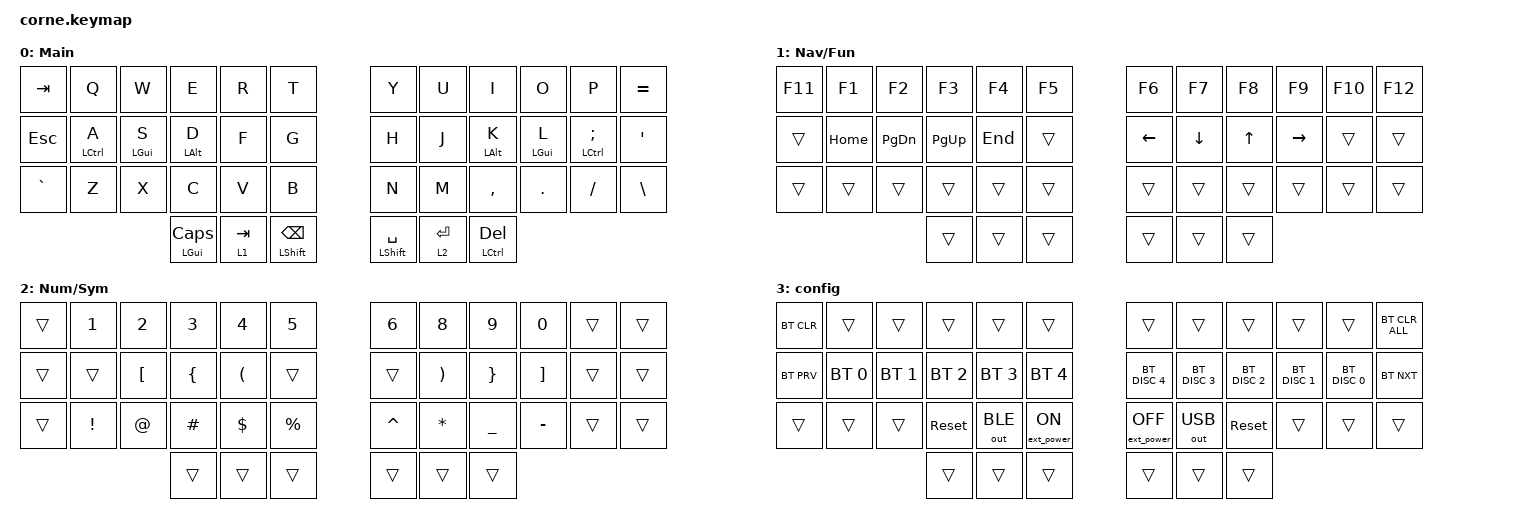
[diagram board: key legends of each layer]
/*
 * Copyright (c) 2020 The ZMK Contributors
 *
 * SPDX-License-Identifier: MIT
 */

#include <behaviors.dtsi>
#include <dt-bindings/zmk/bt.h>
#include <dt-bindings/zmk/ext_power.h>
#include <dt-bindings/zmk/keys.h>
#include <dt-bindings/zmk/outputs.h>

&mt {
    tapping-term-ms = <250>;
    quick-tap-ms = <150>;
    flavor = "tap-preferred";
};

/ {
    keymap {
        compatible = "zmk,keymap";

        main_layer {
            bindings = <
&kp TAB    &kp Q        &kp W           &kp E              &kp R      &kp T                   &kp Y                 &kp U        &kp I           &kp O           &kp P           &kp EQUAL
&kp ESC    &mt LCTRL A  &mt LEFT_GUI S  &mt LEFT_ALT D     &kp F      &kp G                   &kp H                 &kp J        &mt LEFT_ALT K  &mt LEFT_GUI L  &mt LCTRL SEMI  &kp SQT
&kp GRAVE  &kp Z        &kp X           &kp C              &kp V      &kp B                   &kp N                 &kp M        &kp COMMA       &kp DOT         &kp FSLH        &kp BACKSLASH
                                        &mt LEFT_GUI CAPS  &lt 1 TAB  &mt LSHIFT BACKSPACE    &mt LEFT_SHIFT SPACE  &lt 2 ENTER  &mt LCTRL DEL
            >;

            label = "Main";
        };

        left_layer {
            bindings = <
&kp F11  &kp F1    &kp F2         &kp F3       &kp F4   &kp F5    &kp F6    &kp F7    &kp F8  &kp F9     &kp F10  &kp F12
&trans   &kp HOME  &kp PAGE_DOWN  &kp PAGE_UP  &kp END  &trans    &kp LEFT  &kp DOWN  &kp UP  &kp RIGHT  &trans   &trans
&trans   &trans    &trans         &trans       &trans   &trans    &trans    &trans    &trans  &trans     &trans   &trans
                                  &trans       &trans   &trans    &trans    &trans    &trans
            >;

            label = "Nav/Fun";
        };

        right_layer {
            bindings = <
&trans  &kp N1           &kp N2            &kp N3          &kp N4                &kp N5         &kp N6     &kp N8                 &kp N9           &kp N0             &trans  &trans
&trans  &trans           &kp LEFT_BRACKET  &kp LEFT_BRACE  &kp LEFT_PARENTHESIS  &trans         &trans     &kp RIGHT_PARENTHESIS  &kp RIGHT_BRACE  &kp RIGHT_BRACKET  &trans  &trans
&trans  &kp EXCLAMATION  &kp AT_SIGN       &kp HASH        &kp DOLLAR            &kp PERCENT    &kp CARET  &kp ASTERISK           &kp UNDERSCORE   &kp MINUS          &trans  &trans
                                           &trans          &trans                &trans         &trans     &trans                 &trans
            >;

            label = "Num/Sym";
        };

        config_layer {
            bindings = <
&bt BT_CLR  &trans        &trans        &trans        &trans        &trans              &trans             &trans         &trans         &trans         &trans         &bt BT_CLR_ALL
&bt BT_PRV  &bt BT_SEL 0  &bt BT_SEL 1  &bt BT_SEL 2  &bt BT_SEL 3  &bt BT_SEL 4        &bt BT_DISC 4      &bt BT_DISC 3  &bt BT_DISC 2  &bt BT_DISC 1  &bt BT_DISC 0  &bt BT_NXT
&trans      &trans        &trans        &sys_reset    &out OUT_BLE  &ext_power EP_ON    &ext_power EP_OFF  &out OUT_USB   &sys_reset     &trans         &trans         &trans
                                        &trans        &trans        &trans              &trans             &trans         &trans
            >;

            label = "config";
        };
    };

    conditional_layers {
        compatible = "zmk,conditional-layers";

        dual_layer {
            if-layers = <1 2>;
            then-layer = <3>;
        };
    };
};
